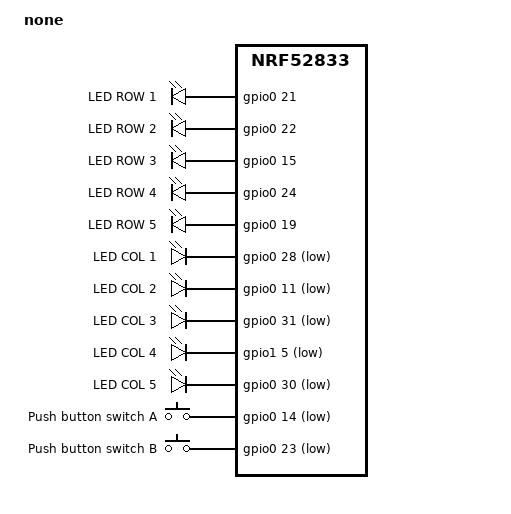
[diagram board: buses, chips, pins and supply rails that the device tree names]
/dts-v1/;
#include <nordic/nrf52833_qiaa.dtsi>
#include "bbc_micro_based_dev_board-pinctrl.dtsi"
#include <zephyr/dt-bindings/input/input-event-codes.h>

/ {
	model = "none";
	compatible = "none,bbc-micro-based-dev-board";

	chosen {
		zephyr,sram = &sram0;
		zephyr,flash = &flash0;
		zephyr,code-partition = &slot0_partition;
	};

	leds {
		compatible = "gpio-leds";
		row1: row_1 {
			gpios = <&gpio0 21 GPIO_ACTIVE_HIGH>;
			label = "LED ROW 1";
		};
		row2: row_2 {
			gpios = <&gpio0 22 GPIO_ACTIVE_HIGH>;
			label = "LED ROW 2";
		};
		row3: row_3 {
			gpios = <&gpio0 15 GPIO_ACTIVE_HIGH>;
			label = "LED ROW 3";
		};
		row4: row_4 {
			gpios = <&gpio0 24 GPIO_ACTIVE_HIGH>;
			label = "LED ROW 4";
		};
		row5: row_5 {
			gpios = <&gpio0 19 GPIO_ACTIVE_HIGH>;
			label = "LED ROW 5";
		};

		col1: col_1 {
			gpios = <&gpio0 28 GPIO_ACTIVE_LOW>;
			label = "LED COL 1";
		};
		col2: col_2 {
			gpios = <&gpio0 11 GPIO_ACTIVE_LOW>;
			label = "LED COL 2";
		};
		col3: col_3 {
			gpios = <&gpio0 31 GPIO_ACTIVE_LOW>;
			label = "LED COL 3";
		};
		col4: col_4 {
			gpios = <&gpio1 5 GPIO_ACTIVE_LOW>;
			label = "LED COL 4";
		};
		col5: col_5 {
			gpios = <&gpio0 30 GPIO_ACTIVE_LOW>;
			label = "LED COL 5";
		};
	};

	buttons {
		compatible = "gpio-keys";
		buttonA: button_A {
			gpios = <&gpio0 14 (GPIO_PULL_UP | GPIO_ACTIVE_LOW)>;
			label = "Push button switch A";
			zephyr,code = <INPUT_KEY_0>;
		};
		buttonB: button_B {
			gpios = <&gpio0 23 (GPIO_PULL_UP | GPIO_ACTIVE_LOW)>;
			label = "Push button switch B";
			zephyr,code = <INPUT_KEY_1>;
		};
	};
};

&flash0 {
	partitions {
		compatible = "fixed-partitions";
		#address-cells = <1>;
		#size-cells = <1>;

		boot_partition: partition@0 {
			label = "mcuboot";
			reg = <0x00000000 DT_SIZE_K(48)>;
		};

		slot0_partition: partition@c000 {
			label = "image-0";
			reg = <0x0000c000 DT_SIZE_K(220)>;
		};

		slot1_partition: partition@43000 {
			label = "image-1";
			reg = <0x00043000 DT_SIZE_K(220)>;
		};

		storage_partition: partition@7a000 {
			label = "storage";
			reg = <0x0007a000 DT_SIZE_K(24)>;
		};
	};
};

&gpiote {
	status = "okay";
};

&gpio0 {
	status = "okay";
};

&gpio1 {
	status = "okay";
};
